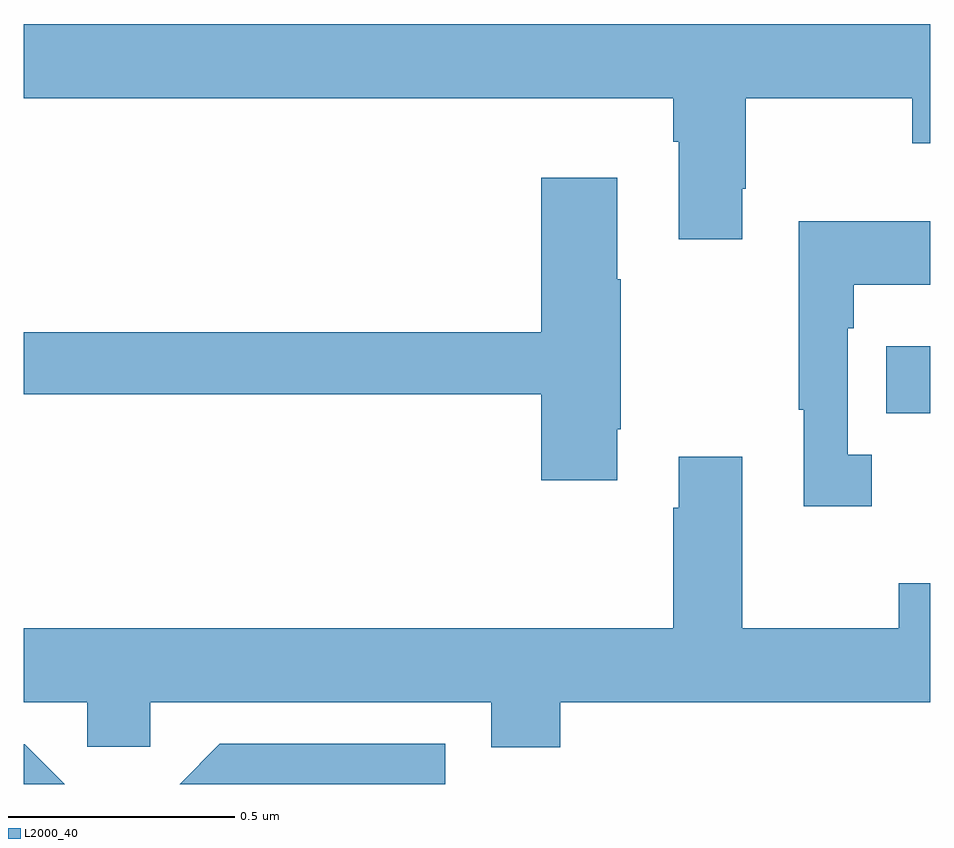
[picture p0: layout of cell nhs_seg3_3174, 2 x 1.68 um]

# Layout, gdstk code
import gdstk
lib = gdstk.Library(unit=1e-6, precision=1e-09)
def R(c, l, rs):  # rectangles x0, y0, x1, y1
    for r in rs: c.add(gdstk.rectangle(r[:2], r[2:], *l))
def P(c, l, *ps):  # polygons
    for p in ps: c.add(gdstk.Polygon(p, *l))
L2000_40 = (2000, 40)

nhs_seg3_3174 = lib.new_cell('nhs_seg3_3174')
R(nhs_seg3_3174, L2000_40, [(151.903,704.218,152,704.365)])
P(nhs_seg3_3174, L2000_40, [(151.585,704.713),(151.593,704.713),(151.593,704.912),(151.96,704.912),(151.96,704.813),(152,704.813),(152,705.076),(150,705.076),(150,704.912),(151.433,704.912),(151.433,704.816),(151.445,704.816),(151.445,704.601),(151.585,704.601)],
  [(151.309,704.182),(151.317,704.182),(151.317,704.513),(151.309,704.513),(151.309,704.737),(151.142,704.737),(151.142,704.396),(150,704.396),(150,704.26),(151.142,704.26),(151.142,704.07),(151.309,704.07)],
  [(151.87,704.126),(151.818,704.126),(151.818,704.405),(151.831,704.405),(151.831,704.501),(152,704.501),(152,704.641),(151.71,704.641),(151.71,704.225),(151.721,704.225),(151.721,704.013),(151.87,704.013)],
  [(151.184,703.58),(152,703.58),(152,703.843),(151.93,703.843),(151.93,703.744),(151.585,703.744),(151.585,704.122),(151.445,704.122),(151.445,704.009),(151.433,704.009),(151.433,703.744),(150,703.744),(150,703.58),(150.141,703.58),(150.141,703.482),(150.279,703.482),(150.279,703.58),(151.031,703.58),(151.031,703.481),(151.184,703.481)],
  [(150.93,703.489),(150.433,703.489),(150.344,703.4),(150.93,703.4)],
  [(150.003,703.488),(150,703.488),(150,703.4),(150.091,703.4)])

lib.write_gds('nhs_seg3_3174.gds')
